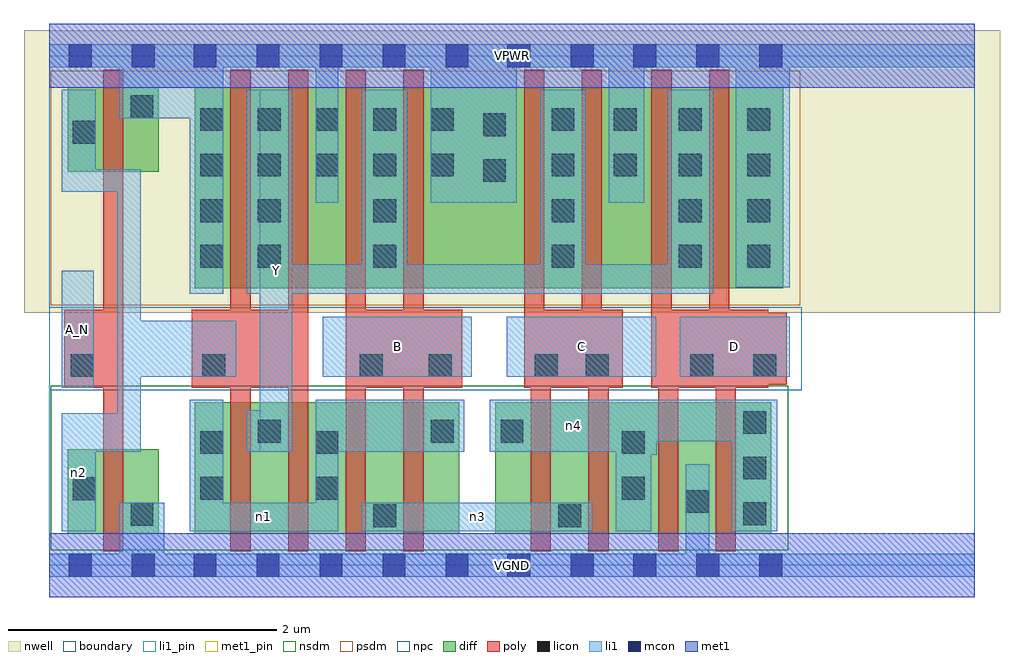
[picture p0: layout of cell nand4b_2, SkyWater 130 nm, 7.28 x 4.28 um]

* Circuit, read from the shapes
.subckt nand4b_2 A_N B C D VGND VPWR Y n1 n2 n3 n4
XM1 VGND A_N n2 VSUBS sky130_fd_pr__nfet_01v8 w=0.63 l=0.15
XM2 Y n2 n1 VSUBS sky130_fd_pr__nfet_01v8 w=0.98 l=0.15 m=2
XM3 n3 B n1 VSUBS sky130_fd_pr__nfet_01v8 w=0.98 l=0.15 m=2
XM4 n3 C n4 VSUBS sky130_fd_pr__nfet_01v8 w=0.98 l=0.15 m=2
XM5 VGND D n4 VSUBS sky130_fd_pr__nfet_01v8 w=0.98 l=0.15 m=2
XM6 VPWR A_N n2 n5 sky130_fd_pr__pfet_01v8 w=0.63 l=0.15
XM7 Y n2 VPWR n5 sky130_fd_pr__pfet_01v8 w=1.5 l=0.15 m=2
XM8 Y B VPWR n5 sky130_fd_pr__pfet_01v8 w=1.5 l=0.15 m=2
XM9 Y C VPWR n5 sky130_fd_pr__pfet_01v8 w=1.5 l=0.15 m=2
XM10 Y D VPWR n5 sky130_fd_pr__pfet_01v8 w=1.5 l=0.15 m=2
.ends

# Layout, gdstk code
import gdstk
lib = gdstk.Library(unit=1e-6, precision=1e-09)
def R(c, l, rs):  # rectangles x0, y0, x1, y1
    for r in rs: c.add(gdstk.rectangle(r[:2], r[2:], *l))
def A(c, l, x, y, w, h, nx, ny, dx, dy):  # array of equal rectangles
    R(c, l, [(x+i*dx, y+j*dy, x+i*dx+w, y+j*dy+h) for i in range(nx) for j in range(ny)])
nwell = (64, 20)
diff = (65, 20)
poly = (66, 20)
licon = (66, 44)
li1_pin = (67, 16)
li1 = (67, 20)
mcon = (67, 44)
met1_pin = (68, 16)
met1 = (68, 20)
nsdm = (93, 44)
psdm = (94, 20)
npc = (95, 20)
boundary = (235, 4)

nand4b_2 = lib.new_cell('nand4b_2')
R(nand4b_2, nwell, [(-0.19,1.885,7.09,3.99), (0,1.885,6.9,3.99)])
R(nand4b_2, diff, [(0.135,0.235,0.815,0.865), (1.085,0.235,3.055,1.215), (3.325,0.235,5.385,1.215), (1.085,2.065,5.475,3.565), (0.135,2.935,0.815,3.565)])
A(nand4b_2, poly, 1.35, 0.105, 0.15, 3.59, 4, 1, 0.43, 0)
R(nand4b_2, poly, [(0.4,0.105,0.55,3.695), (3.59,0.105,3.74,1.905), (4.02,0.105,4.17,1.905), (4.54,0.105,4.69,1.905), (4.97,0.105,5.12,1.905), (0.11,1.325,0.55,1.905), (1.06,1.325,1.93,1.905), (2.21,1.325,3.08,1.905), (3.54,1.325,3.69,3.695), (3.54,1.325,4.275,1.905), (3.97,1.325,4.12,3.695), (4.49,1.325,5.36,1.905), (4.49,1.325,4.64,3.695), (4.92,1.325,5.07,3.695), (4.49,1.345,5.5,1.885)])
A(nand4b_2, licon, 5.175, 0.3, 0.17, 0.17, 1, 3, 0, 0.34)
A(nand4b_2, licon, 3.745, 2.22, 0.17, 0.17, 1, 4, 0, 0.34)
A(nand4b_2, licon, 4.695, 2.22, 0.17, 0.17, 1, 4, 0, 0.34)
A(nand4b_2, licon, 5.205, 2.22, 0.17, 0.17, 1, 4, 0, 0.34)
A(nand4b_2, licon, 1.125, 2.9, 0.17, 0.17, 5, 2, 0.43, 0.34)
R(nand4b_2, licon, [(2.415,0.285,2.585,0.455), (3.795,0.285,3.965,0.455), (0.605,0.295,0.775,0.465), (4.745,0.39,4.915,0.56), (0.175,0.485,0.345,0.655), (1.125,0.49,1.295,0.66), (1.985,0.49,2.155,0.66), (4.27,0.49,4.44,0.66), (1.125,0.83,1.295,1), (1.985,0.83,2.155,1), (4.27,0.83,4.44,1), (1.555,0.915,1.725,1.085), (2.845,0.915,3.015,1.085), (3.365,0.915,3.535,1.085), (0.16,1.405,0.33,1.575), (1.14,1.405,1.31,1.575), (2.315,1.405,2.485,1.575), (2.83,1.405,3,1.575), (3.62,1.405,3.79,1.575), (4,1.405,4.17,1.575), (4.78,1.405,4.95,1.575), (5.25,1.405,5.42,1.575), (1.125,2.22,1.295,2.39), (1.555,2.22,1.725,2.39), (2.415,2.22,2.585,2.39), (1.125,2.56,1.295,2.73), (1.555,2.56,1.725,2.73), (2.415,2.56,2.585,2.73), (3.235,2.86,3.405,3.03), (4.21,2.9,4.38,3.07), (0.175,3.145,0.345,3.315), (3.235,3.2,3.405,3.37), (4.21,3.24,4.38,3.41), (0.605,3.335,0.775,3.505)])
R(nand4b_2, li1_pin, [(1.57,0.845,1.81,3.545), (0.09,1.325,0.33,2.195), (2.04,1.405,3.15,1.855), (3.41,1.405,4.525,1.855), (4.7,1.405,5.52,1.855)])
R(nand4b_2, li1, [(0,-0.085,6.9,0.085), (0.52,-0.085,0.855,0.465), (4.745,-0.085,4.92,0.755), (0.09,0.255,0.345,1.135), (1.045,0.255,2.155,0.465), (1.045,0.255,1.295,1.235), (1.985,0.255,2.155,1.235), (2.33,0.255,4.05,0.465), (4.225,0.255,4.49,1.235), (5.09,0.255,5.43,1.235), (4.225,0.825,4.53,1.235), (0.09,0.845,0.68,1.135), (0.505,0.845,0.68,2.955), (1.47,0.845,1.81,1.155), (1.57,0.845,1.81,3.545), (1.985,0.845,3.095,1.235), (3.285,0.845,4.53,1.235), (3.285,0.925,5.43,1.235), (0.09,1.325,0.33,2.195), (0.505,1.405,1.395,1.825), (2.04,1.405,3.15,1.855), (3.41,1.405,4.525,1.855), (4.7,1.405,5.52,1.855), (1.045,2.025,1.295,3.885), (1.47,2.025,4.95,2.245), (1.47,2.025,1.81,3.545), (2.33,2.025,2.67,3.545), (3.66,2.025,4,3.545), (4.61,2.025,4.95,3.545), (5.12,2.075,5.52,3.885), (1.985,2.705,2.155,3.885), (2.845,2.705,3.485,3.885), (4.17,2.705,4.435,3.885), (0.09,2.785,0.345,3.545), (0.09,2.785,0.68,2.955), (0.52,3.335,1.295,3.885), (0,3.715,6.9,3.885)])
A(nand4b_2, mcon, 1.075, -0.085, 0.17, 0.17, 5, 2, 0.47, 3.8)
A(nand4b_2, mcon, 4.355, -0.085, 0.17, 0.17, 3, 2, 0.47, 3.8)
R(nand4b_2, mcon, [(0.145,-0.085,0.315,0.085), (0.615,-0.085,0.785,0.085), (3.415,-0.085,3.585,0.085), (3.89,-0.085,4.06,0.085), (0.145,3.715,0.315,3.885), (0.615,3.715,0.785,3.885), (3.415,3.715,3.585,3.885), (3.89,3.715,4.06,3.885)])
R(nand4b_2, met1_pin, [(0,-0.24,6.9,0.24), (0,3.56,6.9,4.04)])
R(nand4b_2, met1, [(0,-0.24,6.9,0.24), (0,3.56,6.9,4.04)])
R(nand4b_2, nsdm, [(0.01,0.11,5.51,1.34)])
R(nand4b_2, psdm, [(0.01,1.94,5.6,3.69)])
R(nand4b_2, npc, [(0,1.305,5.61,1.925)])
R(nand4b_2, boundary, [(0,0,6.9,3.8)])
nand4b_2.add(gdstk.Label('A_N', (0.21,1.76), layer=67, texttype=5))
nand4b_2.add(gdstk.Label('B', (2.595,1.63), layer=67, texttype=5))
nand4b_2.add(gdstk.Label('C', (3.967,1.63), layer=67, texttype=5))
nand4b_2.add(gdstk.Label('D', (5.11,1.63), layer=67, texttype=5))
nand4b_2.add(gdstk.Label('Y', (1.69,2.195), layer=67, texttype=5))
nand4b_2.add(gdstk.Label('n3', (3.19,0.36), layer=67, texttype=5))
nand4b_2.add(gdstk.Label('n1', (1.6,0.36), layer=67, texttype=5))
nand4b_2.add(gdstk.Label('n4', (3.907,1.04), layer=67, texttype=5))
nand4b_2.add(gdstk.Label('n2', (0.217,0.695), layer=67, texttype=5))
nand4b_2.add(gdstk.Label('VPWR', (3.45,3.8), layer=68, texttype=5))
nand4b_2.add(gdstk.Label('VGND', (3.45,0), layer=68, texttype=5))
nand4b_2.add(gdstk.Label('A_N', (0.21,1.76), layer=67, texttype=16))
nand4b_2.add(gdstk.Label('B', (2.595,1.63), layer=67, texttype=16))
nand4b_2.add(gdstk.Label('C', (3.967,1.63), layer=67, texttype=16))
nand4b_2.add(gdstk.Label('D', (5.11,1.63), layer=67, texttype=16))
nand4b_2.add(gdstk.Label('Y', (1.69,2.195), layer=67, texttype=16))
nand4b_2.add(gdstk.Label('VPWR', (3.45,3.8), layer=68, texttype=16))
nand4b_2.add(gdstk.Label('VGND', (3.45,0), layer=68, texttype=16))

lib.write_gds('nand4b_2.gds')
